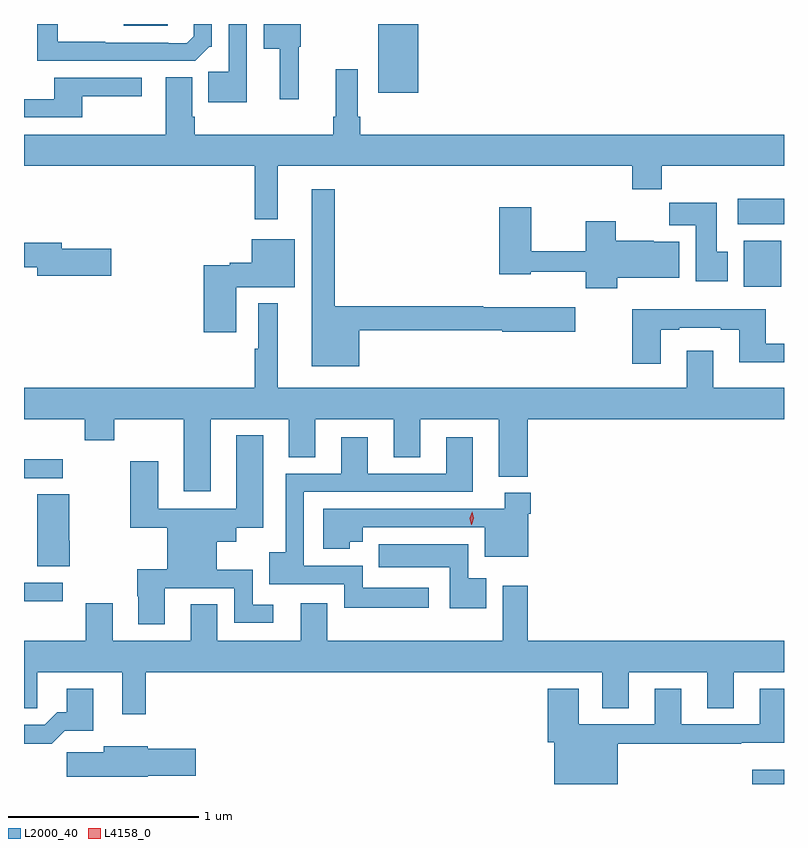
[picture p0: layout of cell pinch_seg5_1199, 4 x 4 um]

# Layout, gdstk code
import gdstk
lib = gdstk.Library(unit=1e-6, precision=1e-09)
def R(c, l, rs):  # rectangles x0, y0, x1, y1
    for r in rs: c.add(gdstk.rectangle(r[:2], r[2:], *l))
def P(c, l, *ps):  # polygons
    for p in ps: c.add(gdstk.Polygon(p, *l))
L2000_40 = (2000, 40)
L4158_0 = (4158, 0)

pinch_seg5_1199 = lib.new_cell('pinch_seg5_1199')
R(pinch_seg5_1199, L2000_40, [(458.816,874.819,458.983,874.894), (454.983,875.78,455.188,875.877), (454.983,876.429,455.188,876.527), (458.771,877.436,458.968,877.678), (458.739,877.766,458.983,877.9), (456.848,878.456,457.057,878.819), (455.507,878.81,455.74,878.819)])
P(pinch_seg5_1199, L2000_40, [(456.156,878.819),(456.06,878.819),(456.06,878.569),(455.954,878.569),(455.954,878.408),(456.156,878.408)],
  [(456.428,878.7),(456.439,878.7),(456.439,878.819),(456.245,878.819),(456.245,878.689),(456.329,878.689),(456.329,878.424),(456.428,878.424)],
  [(455.959,878.7),(455.97,878.7),(455.97,878.819),(455.876,878.819),(455.876,878.754),(455.84,878.718),(455.741,878.718),(455.741,878.721),(455.411,878.721),(455.411,878.726),(455.161,878.726),(455.161,878.819),(455.052,878.819),(455.052,878.625),(455.884,878.625)],
  [(456.319,878.072),(458.183,878.072),(458.183,877.948),(458.339,877.948),(458.339,878.072),(458.983,878.072),(458.983,878.236),(456.752,878.236),(456.752,878.332),(456.739,878.332),(456.739,878.581),(456.623,878.581),(456.623,878.332),(456.611,878.332),(456.611,878.236),(455.882,878.236),(455.882,878.332),(455.869,878.332),(455.869,878.54),(455.729,878.54),(455.729,878.236),(454.983,878.236),(454.983,878.072),(456.198,878.072),(456.198,877.791),(456.319,877.791)],
  [(455.289,878.438),(455.602,878.438),(455.602,878.535),(455.141,878.535),(455.141,878.424),(454.983,878.424),(454.983,878.328),(455.289,878.328)],
  [(456.748,877.206),(457.5,877.206),(457.5,877.198),(457.885,877.198),(457.885,877.327),(457.4,877.327),(457.4,877.334),(456.619,877.334),(456.619,877.948),(456.497,877.948),(456.497,877.019),(456.748,877.019)],
  [(458.686,877.62),(458.629,877.62),(458.629,877.879),(458.38,877.879),(458.38,877.76),(458.519,877.76),(458.519,877.464),(458.686,877.464)],
  [(458.106,877.484),(458.431,877.484),(458.431,877.672),(458.298,877.672),(458.298,877.678),(458.098,877.678),(458.098,877.78),(457.94,877.78),(457.94,877.624),(457.654,877.624),(457.654,877.855),(457.484,877.855),(457.484,877.502),(457.65,877.502),(457.65,877.514),(457.94,877.514),(457.94,877.427),(458.106,877.427)],
  [(456.1,877.433),(456.409,877.433),(456.409,877.687),(456.182,877.687),(456.182,877.562),(456.066,877.562),(456.066,877.549),(455.93,877.549),(455.93,877.197),(456.1,877.197)],
  [(455.443,877.635),(455.182,877.635),(455.182,877.669),(454.983,877.669),(454.983,877.54),(455.054,877.54),(455.054,877.493),(455.443,877.493)],
  [(455.965,876.74),(456.377,876.74),(456.377,876.538),(456.517,876.538),(456.517,876.74),(456.929,876.74),(456.929,876.538),(457.069,876.538),(457.069,876.74),(457.481,876.74),(457.481,876.436),(457.634,876.436),(457.634,876.74),(458.983,876.74),(458.983,876.904),(458.611,876.904),(458.611,877.099),(458.471,877.099),(458.471,876.904),(456.319,876.904),(456.319,877.348),(456.215,877.348),(456.215,877.109),(456.198,877.109),(456.198,876.904),(454.983,876.904),(454.983,876.74),(455.302,876.74),(455.302,876.629),(455.457,876.629),(455.457,876.74),(455.825,876.74),(455.825,876.36),(455.965,876.36)],
  [(458.335,877.209),(458.431,877.209),(458.431,877.221),(458.651,877.221),(458.651,877.209),(458.747,877.209),(458.747,877.04),(458.983,877.04),(458.983,877.137),(458.887,877.137),(458.887,877.318),(458.183,877.318),(458.183,877.032),(458.335,877.032)],
  [(455.725,875.85),(456.09,875.85),(456.09,875.667),(456.295,875.667),(456.295,875.763),(456.186,875.763),(456.186,875.947),(455.998,875.947),(455.998,876.095),(456.1,876.095),(456.1,876.169),(456.241,876.169),(456.241,876.655),(456.101,876.655),(456.101,876.268),(455.689,876.268),(455.689,876.517),(455.542,876.517),(455.542,876.169),(455.738,876.169),(455.738,875.949),(455.578,875.949),(455.578,875.808),(455.585,875.808),(455.585,875.661),(455.725,875.661)],
  [(457.114,875.851),(456.765,875.851),(456.765,875.967),(456.456,875.967),(456.456,876.357),(457.345,876.357),(457.345,876.643),(457.205,876.643),(457.205,876.453),(456.793,876.453),(456.793,876.643),(456.653,876.643),(456.653,876.453),(456.36,876.453),(456.36,876.04),(456.275,876.04),(456.275,875.871),(456.669,875.871),(456.669,875.747),(457.114,875.747)],
  [(457.636,876.242),(457.649,876.242),(457.649,876.351),(457.514,876.351),(457.514,876.267),(456.557,876.267),(456.557,876.056),(456.697,876.056),(456.697,876.095),(456.766,876.095),(456.766,876.171),(457.409,876.171),(457.409,876.014),(457.636,876.014)],
  [(455.225,876.1),(455.22,876.1),(455.22,876.344),(455.054,876.344),(455.054,875.966),(455.225,875.966)],
  [(457.417,875.902),(457.32,875.902),(457.32,876.082),(456.85,876.082),(456.85,875.96),(457.224,875.96),(457.224,875.744),(457.417,875.744)],
  [(455.623,875.408),(458.027,875.408),(458.027,875.218),(458.167,875.218),(458.167,875.408),(458.579,875.408),(458.579,875.218),(458.719,875.218),(458.719,875.408),(458.983,875.408),(458.983,875.572),(457.634,875.572),(457.634,875.863),(457.502,875.863),(457.502,875.572),(456.58,875.572),(456.58,875.77),(456.44,875.77),(456.44,875.572),(456.001,875.572),(456.001,875.765),(455.861,875.765),(455.861,875.572),(455.449,875.572),(455.449,875.77),(455.309,875.77),(455.309,875.572),(454.983,875.572),(454.983,875.218),(455.052,875.218),(455.052,875.408),(455.501,875.408),(455.501,875.187),(455.623,875.187)],
  [(455.198,875.099),(455.347,875.099),(455.347,875.32),(455.207,875.32),(455.207,875.197),(455.158,875.197),(455.091,875.13),(454.983,875.13),(454.983,875.03),(455.129,875.03)],
  [(458.107,875.032),(458.759,875.032),(458.759,875.036),(458.983,875.036),(458.983,875.32),(458.855,875.32),(458.855,875.133),(458.443,875.133),(458.443,875.32),(458.303,875.32),(458.303,875.133),(457.903,875.133),(457.903,875.32),(457.739,875.32),(457.739,875.04),(457.775,875.04),(457.775,874.819),(458.107,874.819)],
  [(455.634,874.862),(455.887,874.862),(455.887,875.004),(455.634,875.004),(455.634,875.017),(455.402,875.017),(455.402,874.985),(455.208,874.985),(455.208,874.856),(455.634,874.856)])
P(pinch_seg5_1199, L4158_0, [(457.338,876.183),(457.33,876.218),(457.341,876.252),(457.341,876.252),(457.341,876.252),(457.35,876.217),(457.339,876.183),(457.339,876.183)])

lib.write_gds('pinch_seg5_1199.gds')
